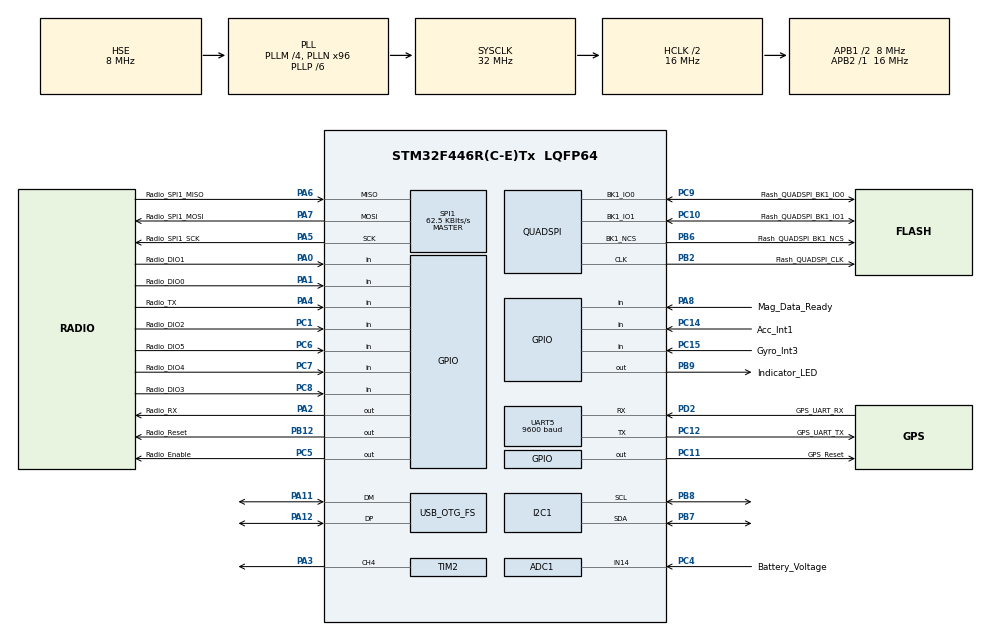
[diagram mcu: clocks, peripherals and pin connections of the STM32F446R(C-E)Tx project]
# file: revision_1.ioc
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ADC1.Channel-0\#ChannelRegularConversion=ADC_CHANNEL_14
ADC1.NbrOfConversionFlag=1
ADC1.Rank-0\#ChannelRegularConversion=1
ADC1.SamplingTime-0\#ChannelRegularConversion=ADC_SAMPLETIME_3CYCLES
ADC1.master=1
Dma.Request0=UART5_RX
Dma.UART5_RX.0.Direction=DMA_PERIPH_TO_MEMORY
Dma.UART5_RX.0.FIFOMode=DMA_FIFOMODE_DISABLE
Dma.UART5_RX.0.Instance=DMA1_Stream0
Dma.UART5_RX.0.MemDataAlignment=DMA_MDATAALIGN_BYTE
Dma.UART5_RX.0.MemInc=DMA_MINC_ENABLE
Dma.UART5_RX.0.Mode=DMA_NORMAL
Dma.UART5_RX.0.PeriphDataAlignment=DMA_PDATAALIGN_BYTE
Dma.UART5_RX.0.PeriphInc=DMA_PINC_DISABLE
Dma.UART5_RX.0.Priority=DMA_PRIORITY_LOW
Mcu.Family=STM32F4
Mcu.Name=STM32F446R(C-E)Tx
Mcu.Package=LQFP64
NVIC.DMA1_Stream0_IRQn=true\:0\:0\:false\:false\:true\:false\:true\:true
NVIC.OTG_FS_IRQn=true\:0\:0\:false\:false\:true\:false\:true\:true
NVIC.PriorityGroup=NVIC_PRIORITYGROUP_4
PA0-WKUP.GPIO_Label=Radio_DIO1
PA0-WKUP.Signal=GPIO_Input
PA1.GPIO_Label=Radio_DIO0
PA1.Signal=GPIO_Input
PA11.Mode=Device_Only
PA11.Signal=USB_OTG_FS_DM
PA12.Mode=Device_Only
PA12.Signal=USB_OTG_FS_DP
PA13.Mode=Serial_Wire
PA13.Signal=SYS_JTMS-SWDIO
PA14.Mode=Serial_Wire
PA14.Signal=SYS_JTCK-SWCLK
PA2.GPIO_Label=Radio_RX
PA2.Signal=GPIO_Output
PA3.Signal=S_TIM2_CH4
PA4.GPIO_Label=Radio_TX
PA4.Signal=GPIO_Input
PA5.GPIO_Label=Radio_SPI1_SCK
PA5.Mode=Full_Duplex_Master
PA5.Signal=SPI1_SCK
PA6.GPIO_Label=Radio_SPI1_MISO
PA6.Mode=Full_Duplex_Master
PA6.Signal=SPI1_MISO
PA7.GPIO_Label=Radio_SPI1_MOSI
PA7.Mode=Full_Duplex_Master
PA7.Signal=SPI1_MOSI
PA8.GPIO_Label=Mag_Data_Ready
PA8.Signal=GPIO_Input
PB12.GPIO_Label=Radio_Reset
PB12.Signal=GPIO_Output
PB2.GPIO_Label=Flash_QUADSPI_CLK
PB2.Mode=Single Bank 1 2IOs
PB2.Signal=QUADSPI_CLK
PB6.GPIO_Label=Flash_QUADSPI_BK1_NCS
PB6.Mode=Single Bank 1 2IOs
PB6.Signal=QUADSPI_BK1_NCS
PB7.Mode=I2C
PB7.Signal=I2C1_SDA
PB8.Mode=I2C
PB8.Signal=I2C1_SCL
PB9.GPIO_Label=Indicator_LED
PB9.Signal=GPIO_Output
PC1.GPIO_Label=Radio_DIO2
PC1.Signal=GPIO_Input
PC10.GPIO_Label=Flash_QUADSPI_BK1_IO1
PC10.Mode=Single Bank 1 2IOs
PC10.Signal=QUADSPI_BK1_IO1
PC11.GPIO_Label=GPS_Reset
PC11.Signal=GPIO_Output
PC12.GPIO_Label=GPS_UART_TX
PC12.Mode=Asynchronous
PC12.Signal=UART5_TX
PC14-OSC32_IN.GPIO_Label=Acc_Int1
PC14-OSC32_IN.Signal=GPIO_Input
PC15-OSC32_OUT.GPIO_Label=Gyro_Int3
PC15-OSC32_OUT.Signal=GPIO_Input
PC4.GPIO_Label=Battery_Voltage
PC4.Signal=ADCx_IN14
PC5.GPIO_Label=Radio_Enable
PC5.GPIO_PuPd=GPIO_NOPULL
PC5.PinState=GPIO_PIN_RESET
PC5.Signal=GPIO_Output
PC6.GPIO_Label=Radio_DIO5
PC6.Signal=GPIO_Input
PC7.GPIO_Label=Radio_DIO4
PC7.Signal=GPIO_Input
PC8.GPIO_Label=Radio_DIO3
PC8.Signal=GPIO_Input
PC9.GPIO_Label=Flash_QUADSPI_BK1_IO0
PC9.Mode=Single Bank 1 2IOs
PC9.Signal=QUADSPI_BK1_IO0
PD2.GPIO_Label=GPS_UART_RX
PD2.Mode=Asynchronous
PD2.Signal=UART5_RX
PH0-OSC_IN.Mode=HSE-External-Oscillator
PH0-OSC_IN.Signal=RCC_OSC_IN
PH1-OSC_OUT.Mode=HSE-External-Oscillator
PH1-OSC_OUT.Signal=RCC_OSC_OUT
ProjectManager.HeapSize=0x200
ProjectManager.StackSize=0x400
ProjectManager.TargetToolchain=STM32CubeIDE
QUADSPI.FifoThreshold=1
QUADSPI.FlashSize=24
RCC.AHBCLKDivider=RCC_SYSCLK_DIV2
RCC.AHBFreq_Value=16000000
RCC.APB1CLKDivider=RCC_HCLK_DIV2
RCC.APB1Freq_Value=8000000
RCC.APB1TimFreq_Value=16000000
RCC.APB2Freq_Value=16000000
RCC.APB2TimFreq_Value=16000000
RCC.CortexFreq_Value=16000000
RCC.HCLKFreq_Value=16000000
RCC.HSE_VALUE=8000000
RCC.PLLM=4
RCC.PLLN=96
RCC.PLLP=RCC_PLLP_DIV6
RCC.PLLQ=4
RCC.PLLSourceVirtual=RCC_PLLSOURCE_HSE
RCC.SYSCLKFreq_VALUE=32000000
RCC.SYSCLKSource=RCC_SYSCLKSOURCE_PLLCLK
RCC.USBFreq_Value=48000000
RCC.VCOOutputFreq_Value=192000000
SH.ADCx_IN14.0=ADC1_IN14,IN14
SH.S_TIM2_CH4.0=TIM2_CH4,PWM Generation4 CH4
SPI1.BaudRatePrescaler=SPI_BAUDRATEPRESCALER_256
SPI1.CalculateBaudRate=62.5 KBits/s
SPI1.Direction=SPI_DIRECTION_2LINES
SPI1.Mode=SPI_MODE_MASTER
SPI1.VirtualType=VM_MASTER
TIM2.AutoReloadPreload=TIM_AUTORELOAD_PRELOAD_ENABLE
TIM2.Channel-PWM\ Generation4\ CH4=TIM_CHANNEL_4
TIM2.ClockDivision=TIM_CLOCKDIVISION_DIV1
TIM2.Period=10
TIM2.Prescaler=600
TIM2.Pulse-PWM\ Generation4\ CH4=5
TIM2.TIM_MasterOutputTrigger=TIM_TRGO_RESET
TIM2.TIM_MasterSlaveMode=TIM_MASTERSLAVEMODE_DISABLE
UART5.BaudRate=9600
UART5.VirtualMode=Asynchronous
USB_DEVICE.CLASS_NAME_FS=CDC
USB_DEVICE.VirtualMode-CDC_FS=Cdc
USB_DEVICE.VirtualModeFS=Cdc_FS
USB_OTG_FS.VirtualMode=Device_Only
VP_TIM1_VS_ClockSourceINT.Mode=Internal
VP_TIM2_VS_ClockSourceINT.Mode=Internal
VP_USB_DEVICE_VS_USB_DEVICE_CDC_FS.Mode=CDC_FS
board=custom

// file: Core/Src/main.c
/* USER CODE BEGIN Header */
/**
  ******************************************************************************
  * @file           : main.c
  * @brief          : Main program body
  ******************************************************************************
  * @attention
  *
  * Copyright (c) 2023 STMicroelectronics.
  * All rights reserved.
  *
  * This software is licensed under terms that can be found in the LICENSE file
  * in the root directory of this software component.
  * If no LICENSE file comes with this software, it is provided AS-IS.
  *
  ******************************************************************************
  */
/* USER CODE END Header */
#include "main.h"
#include "usb_device.h"

/* USER CODE BEGIN Includes */
#include "stdio.h"
#include "stdlib.h"
#include "usbd_cdc_if.h"
#include "sx1272.h"
#include "L80M39.h"
#include "bme280.h"
#include "BMI088.h"
/* USER CODE END Includes */

/* USER CODE BEGIN PD */
#define BUFFER_LENGTH 600
/* USER CODE END PD */

ADC_HandleTypeDef hadc1;

I2C_HandleTypeDef hi2c1;

QSPI_HandleTypeDef hqspi;

SPI_HandleTypeDef hspi1;

TIM_HandleTypeDef htim1;
TIM_HandleTypeDef htim2;

UART_HandleTypeDef huart5;
DMA_HandleTypeDef hdma_uart5_rx;

/* USER CODE BEGIN PV */
L80M39_t gps;
uint8_t UART1_rxBuffer[BUFFER_LENGTH] = {0};
sx1272_t sx;
sx_gpio_t sx_cs_gpio, sx_tx_gpio, sx_rx_gpio;
uint8_t buf[256] = "Hello, world!";
float temperature;
float humidity;
float pressure;

struct bme280_dev dev_bme280;
struct bme280_data comp_data_bme280;
int8_t rslt_bme280;

char hum_string[50];
char temp_string[50];
char press_string[50];
/* USER CODE END PV */

void SystemClock_Config(void);
static void MX_GPIO_Init(void);
static void MX_DMA_Init(void);
static void MX_QUADSPI_Init(void);
static void MX_I2C1_Init(void);
static void MX_SPI1_Init(void);
static void MX_ADC1_Init(void);
static void MX_UART5_Init(void);
static void MX_TIM1_Init(void);
static void MX_TIM2_Init(void);
/* USER CODE BEGIN PFP */
void HAL_UART_RxCpltCallback(UART_HandleTypeDef *huart)
{
	L80M39_parse(&gps, UART1_rxBuffer, BUFFER_LENGTH);
	char test_message[50];
	//sprintf(test_message, "dat: %.2f lat: %.8f lon: %.8f", gps.datetime, gps.latitude, gps.longitude);
	//CDC_Transmit_FS((uint8_t*) test_message, strlen(test_message));
	HAL_UART_Receive_DMA(&huart5, &UART1_rxBuffer[0], BUFFER_LENGTH);
}
//void HAL_TIM_PeriodElapsedCallback(TIM_HandleTypeDef *htim)
//{
//    if (htim == &htim6)
//    {
//    	HAL_TIM_PWM_Start(&htim2, TIM_CHANNEL_4);
//    }
//}
/* USER CODE END PFP */

/* USER CODE BEGIN 0 */
int8_t user_i2c_read(uint8_t id, uint8_t reg_addr, uint8_t *data, uint16_t len)
{
  if(HAL_I2C_Master_Transmit(&hi2c1, (id << 1), &reg_addr, 1, 10) != HAL_OK) return -1;
  if(HAL_I2C_Master_Receive(&hi2c1, (id << 1) | 0x01, data, len, 10) != HAL_OK) return -1;

  return 0;
}

void user_delay_ms(uint32_t period)
{
  HAL_Delay(period);
}

int8_t user_i2c_write(uint8_t id, uint8_t reg_addr, uint8_t *data, uint16_t len)
{
  int8_t *buf;
  buf = malloc(len +1);
  buf[0] = reg_addr;
  memcpy(buf +1, data, len);

  if(HAL_I2C_Master_Transmit(&hi2c1, (id << 1), (uint8_t*)buf, len + 1, HAL_MAX_DELAY) != HAL_OK) return -1;

  free(buf);
  return 0;
}

/* USER CODE END 0 */

int main(void)
{

  /* MCU Configuration--------------------------------------------------------*/

  /* Reset of all peripherals, Initializes the Flash interface and the Systick. */
  HAL_Init();

  /* Configure the system clock */
  SystemClock_Config();

  /* Initialize all configured peripherals */
  MX_GPIO_Init();
  MX_DMA_Init();
  MX_QUADSPI_Init();
  MX_I2C1_Init();
  MX_SPI1_Init();
  MX_ADC1_Init();
  MX_UART5_Init();
  MX_USB_DEVICE_Init();
  MX_TIM1_Init();
  MX_TIM2_Init();
  /* USER CODE BEGIN 2 */

  /* BME280 init */
    dev_bme280.dev_id = BME280_I2C_ADDR_PRIM;
    dev_bme280.intf = BME280_I2C_INTF;
    dev_bme280.read = user_i2c_read;
    dev_bme280.write = user_i2c_write;
    dev_bme280.delay_ms = user_delay_ms;

    rslt_bme280 = bme280_init(&dev_bme280);

    /* BME280 settings */
    dev_bme280.settings.osr_h = BME280_OVERSAMPLING_1X;
    dev_bme280.settings.osr_p = BME280_OVERSAMPLING_16X;
    dev_bme280.settings.osr_t = BME280_OVERSAMPLING_2X;
    dev_bme280.settings.filter = BME280_FILTER_COEFF_16;
    rslt_bme280 = bme280_set_sensor_settings(BME280_OSR_PRESS_SEL | BME280_OSR_TEMP_SEL | BME280_OSR_HUM_SEL | BME280_FILTER_SEL, &dev_bme280);

    /* Radio INIT */
	//HAL_GPIO_WritePin(Radio_Enable_GPIO_Port, Radio_Enable_Pin, SET);

	sx_cs_gpio = (sx_gpio_t) {
		.port = Radio_Enable_GPIO_Port,
		.pin = Radio_Enable_Pin,
	};

	sx_tx_gpio = (sx_gpio_t) {
		.port = Radio_TX_GPIO_Port,
		.pin = Radio_TX_Pin,
	};

	sx_rx_gpio = (sx_gpio_t) {
		.port = Radio_RX_GPIO_Port,
		.pin = Radio_RX_Pin,
	};

	// Init device structure

	sx = (sx1272_t) {
			.spi = &hspi1,
			.cs_gpio = &sx_cs_gpio,
			.tx_gpio = &sx_tx_gpio,
			.rx_gpio = &sx_rx_gpio,
			.packet_length = 16,
	};

	/*printf("tx (1), rx (2), tx_no_crc (3), echo_src (4), echo_wall (5) ? ");
	fflush(stdout);*/
	int status = sx1272_common_init(&sx, false);

	/* GPS Init */
	HAL_GPIO_WritePin(GPS_Reset_GPIO_Port, GPS_Reset_Pin, 1);
	L80M39_init(&gps);
	HAL_UART_Receive_DMA(&huart5, &UART1_rxBuffer[0], BUFFER_LENGTH);

	/* BMI088 Init */
    if (BMI088Check()) {
    	BMI088SetAccRange(RANGE_3G);
        BMI088Init();
    } else {
        // Error handling
    }

  /* USER CODE END 2 */

  /* Infinite loop */
  /* USER CODE BEGIN WHILE */

  // counter is used for delaying the start of buzzer
  unsigned int counter = 0;

  // buffer for sending messages via USB conn
  char test_message[50];

  while (1)
  {
    /* USER CODE END WHILE */

    /* USER CODE BEGIN 3 */

	  /* BME280 data acquisition */
	  rslt_bme280 = bme280_set_sensor_mode(BME280_FORCED_MODE, &dev_bme280);
	  dev_bme280.delay_ms(40);
	  rslt_bme280 = bme280_get_sensor_data(BME280_ALL, &comp_data_bme280, &dev_bme280);
	  if(rslt_bme280 == BME280_OK)
	  {
		temperature = comp_data_bme280.temperature / 100.0;
		humidity = comp_data_bme280.humidity / 1024.0;
		pressure = comp_data_bme280.pressure / 10000.0;
	  } else {
		  // Replace with proper error handling
//		  if (HAL_UART_Transmit(&huart2, "Error ", 6, 100)) {
//			  Error_Handler();
//			  HAL_Delay(500);
//		  }
	  }

      /* BMI088 data acquisition */
      float ax = 0, ay = 0, az = 0;
      float gx = 0, gy = 0, gz = 0;
      int16_t temp = 0;

      BMI088GetAccel(&ax, &ay, &az);
      BMI088GetGyro(&gx, &gy, &gz);
      temp = BMI088GetTemp();

      // Conversion of data variable pointers into unsigned int for transmission
	  unsigned int latitudeInt = *(unsigned int*)&gps.latitude;
	  unsigned int longitudeInt = *(unsigned int*)&gps.longitude;
	  unsigned int dateInt = *(unsigned int*)&gps.datetime;
	  unsigned int tempInt = *(unsigned int*)&temperature;
	  unsigned int humidityInt = *(unsigned int*)&humidity;
	  unsigned int pressureInt = *(unsigned int*)&pressure;
	  unsigned int axInt = *(unsigned int*)&ax;
	  unsigned int ayInt = *(unsigned int*)&ay;
	  unsigned int azInt = *(unsigned int*)&az;
	  unsigned int gxInt = *(unsigned int*)&gx;
	  unsigned int gyInt = *(unsigned int*)&gy;
	  unsigned int gzInt = *(unsigned int*)&gz;

	  // data has to be split into 2 batches for transmission
	  // because buffer sent to SX1272 cannot  be more than 16 elements long

	  buf[0] = 0x10;
	  buf[1] = 0x00;
	  buf[2] = 0x00;
	  buf[3] = 0x00;
	  buf[4] = latitudeInt & 0xff;
	  buf[5] = (latitudeInt >> 8) & 0xff;
	  buf[6] = (latitudeInt >> 16) & 0xff;
	  buf[7] = (latitudeInt >> 24) & 0xff;
	  buf[8] = longitudeInt & 0xff;
	  buf[9] = (longitudeInt >> 8) & 0xff;
	  buf[10] = (longitudeInt >> 16) & 0xff;
	  buf[11] = (longitudeInt >> 24) & 0xff;
	  buf[12] = dateInt & 0xff;
	  buf[13] = (dateInt >> 8) & 0xff;
	  buf[14] = (dateInt >> 16) & 0xff;
	  buf[15] = (dateInt >> 24) & 0xff;
	  int ret = sx1272_transmit(&sx, buf);

	HAL_Delay(50);

	  buf[0] = 0x20;
	  buf[1] = 0x00;
	  buf[2] = 0x00;
	  buf[3] = 0x00;
	  buf[4] = tempInt & 0xff;
	  buf[5] = (tempInt >> 8) & 0xff;
	  buf[6] = (tempInt >> 16) & 0xff;
	  buf[7] = (tempInt >> 24) & 0xff;
	  buf[8] = humidityInt & 0xff;
	  buf[9] = (humidityInt >> 8) & 0xff;
	  buf[10] = (humidityInt >> 16) & 0xff;
	  buf[11] = (humidityInt >> 24) & 0xff;
	  buf[12] = pressureInt & 0xff;
	  buf[13] = (pressureInt >> 8) & 0xff;
	  buf[14] = (pressureInt >> 16) & 0xff;
	  buf[15] = (pressureInt >> 24) & 0xff;
	  ret = sx1272_transmit(&sx, buf);

	HAL_Delay(50);

	  buf[0] = 0x30;
	  buf[1] = 0x00;
	  buf[2] = 0x00;
	  buf[3] = 0x00;
	  buf[4] = axInt & 0xff;
	  buf[5] = (axInt >> 8) & 0xff;
	  buf[6] = (axInt >> 16) & 0xff;
	  buf[7] = (axInt >> 24) & 0xff;
	  buf[8] = ayInt & 0xff;
	  buf[9] = (ayInt >> 8) & 0xff;
	  buf[10] = (ayInt >> 16) & 0xff;
	  buf[11] = (ayInt >> 24) & 0xff;
	  buf[12] = azInt & 0xff;
	  buf[13] = (azInt >> 8) & 0xff;
	  buf[14] = (azInt >> 16) & 0xff;
	  buf[15] = (azInt >> 24) & 0xff;
	  ret = sx1272_transmit(&sx, buf);

	HAL_Delay(50);

	  buf[0] = 0x40;
	  buf[1] = 0x00;
	  buf[2] = 0x00;
	  buf[3] = 0x00;
	  buf[4] = gxInt & 0xff;
	  buf[5] = (gxInt >> 8) & 0xff;
	  buf[6] = (gxInt >> 16) & 0xff;
	  buf[7] = (gxInt >> 24) & 0xff;
	  buf[8] = gyInt & 0xff;
	  buf[9] = (gyInt >> 8) & 0xff;
	  buf[10] = (gyInt >> 16) & 0xff;
	  buf[11] = (gyInt >> 24) & 0xff;
	  buf[12] = gzInt & 0xff;
	  buf[13] = (gzInt >> 8) & 0xff;
	  buf[14] = (gzInt >> 16) & 0xff;
	  buf[15] = (gzInt >> 24) & 0xff;
	  ret = sx1272_transmit(&sx, buf);

	  //Printing to USB for debugging
//	sprintf(test_message, "Tx status: %d\r\n", ret);
//	CDC_Transmit_FS((uint8_t*) test_message, strlen(test_message));
//	sprintf(test_message, "Datetime: %x\n\r", dateInt);
//	CDC_Transmit_FS((uint8_t*) test_message, strlen(test_message));
//	sprintf(test_message, "temperature: %4.2f, humidity: %4.2f, pressure: %4.2f\r\n", temperature, humidity, pressure);
//	CDC_Transmit_FS((uint8_t*) test_message, strlen(test_message));
//	sprintf(test_message, "temperature: %x, humidity: %x, pressure: %x\r\n", tempInt, humidityInt, pressureInt);
//	CDC_Transmit_FS((uint8_t*) test_message, strlen(test_message));
//	sprintf(test_message, "Latitude: %x\n\r", latitudeInt);
//	CDC_Transmit_FS((uint8_t*) test_message, strlen(test_message));
//	sprintf(test_message, "Longitude: %x\n\r", longitudeInt);
	sprintf(test_message, "ax: %4.2f, ay: %4.2f, az: %4.2f\r\n", ax, ay, az);
	CDC_Transmit_FS((uint8_t*) test_message, strlen(test_message));
	sprintf(test_message, "gx: %4.2f, gy: %4.2f, gz: %4.2f\r\n", gx, gy, gz);
	CDC_Transmit_FS((uint8_t*) test_message, strlen(test_message));

	HAL_Delay(50);
	counter++;
	// Buzzer will start in 18min = 4500 counts * 240ms / 60 (total HAL delay; it is not very precise)
	if(counter == 4500) {
		HAL_TIM_PWM_Start(&htim2, TIM_CHANNEL_4);
	}
  }
  /* USER CODE END 3 */
}

void SystemClock_Config(void)
{
  RCC_OscInitTypeDef RCC_OscInitStruct = {0};
  RCC_ClkInitTypeDef RCC_ClkInitStruct = {0};

  /** Configure the main internal regulator output voltage
  */
  __HAL_RCC_PWR_CLK_ENABLE();
  __HAL_PWR_VOLTAGESCALING_CONFIG(PWR_REGULATOR_VOLTAGE_SCALE3);

  /** Initializes the RCC Oscillators according to the specified parameters
  * in the RCC_OscInitTypeDef structure.
  */
  RCC_OscInitStruct.OscillatorType = RCC_OSCILLATORTYPE_HSE;
  RCC_OscInitStruct.HSEState = RCC_HSE_ON;
  RCC_OscInitStruct.PLL.PLLState = RCC_PLL_ON;
  RCC_OscInitStruct.PLL.PLLSource = RCC_PLLSOURCE_HSE;
  RCC_OscInitStruct.PLL.PLLM = 4;
  RCC_OscInitStruct.PLL.PLLN = 96;
  RCC_OscInitStruct.PLL.PLLP = RCC_PLLP_DIV6;
  RCC_OscInitStruct.PLL.PLLQ = 4;
  RCC_OscInitStruct.PLL.PLLR = 2;
  if (HAL_RCC_OscConfig(&RCC_OscInitStruct) != HAL_OK)
  {
    Error_Handler();
  }

  /** Initializes the CPU, AHB and APB buses clocks
  */
  RCC_ClkInitStruct.ClockType = RCC_CLOCKTYPE_HCLK|RCC_CLOCKTYPE_SYSCLK
                              |RCC_CLOCKTYPE_PCLK1|RCC_CLOCKTYPE_PCLK2;
  RCC_ClkInitStruct.SYSCLKSource = RCC_SYSCLKSOURCE_PLLCLK;
  RCC_ClkInitStruct.AHBCLKDivider = RCC_SYSCLK_DIV2;
  RCC_ClkInitStruct.APB1CLKDivider = RCC_HCLK_DIV2;
  RCC_ClkInitStruct.APB2CLKDivider = RCC_HCLK_DIV1;

  if (HAL_RCC_ClockConfig(&RCC_ClkInitStruct, FLASH_LATENCY_0) != HAL_OK)
  {
    Error_Handler();
  }
}

static void MX_ADC1_Init(void)
{

  ADC_ChannelConfTypeDef sConfig = {0};

  /** Configure the global features of the ADC (Clock, Resolution, Data Alignment and number of conversion)
  */
  hadc1.Instance = ADC1;
  hadc1.Init.ClockPrescaler = ADC_CLOCK_SYNC_PCLK_DIV2;
  hadc1.Init.Resolution = ADC_RESOLUTION_12B;
  hadc1.Init.ScanConvMode = DISABLE;
  hadc1.Init.ContinuousConvMode = DISABLE;
  hadc1.Init.DiscontinuousConvMode = DISABLE;
  hadc1.Init.ExternalTrigConvEdge = ADC_EXTERNALTRIGCONVEDGE_NONE;
  hadc1.Init.ExternalTrigConv = ADC_SOFTWARE_START;
  hadc1.Init.DataAlign = ADC_DATAALIGN_RIGHT;
  hadc1.Init.NbrOfConversion = 1;
  hadc1.Init.DMAContinuousRequests = DISABLE;
  hadc1.Init.EOCSelection = ADC_EOC_SINGLE_CONV;
  if (HAL_ADC_Init(&hadc1) != HAL_OK)
  {
    Error_Handler();
  }

  /** Configure for the selected ADC regular channel its corresponding rank in the sequencer and its sample time.
  */
  sConfig.Channel = ADC_CHANNEL_14;
  sConfig.Rank = 1;
  sConfig.SamplingTime = ADC_SAMPLETIME_3CYCLES;
  if (HAL_ADC_ConfigChannel(&hadc1, &sConfig) != HAL_OK)
  {
    Error_Handler();
  }

}

static void MX_I2C1_Init(void)
{

  hi2c1.Instance = I2C1;
  hi2c1.Init.ClockSpeed = 100000;
  hi2c1.Init.DutyCycle = I2C_DUTYCYCLE_2;
  hi2c1.Init.OwnAddress1 = 0;
  hi2c1.Init.AddressingMode = I2C_ADDRESSINGMODE_7BIT;
  hi2c1.Init.DualAddressMode = I2C_DUALADDRESS_DISABLE;
  hi2c1.Init.OwnAddress2 = 0;
  hi2c1.Init.GeneralCallMode = I2C_GENERALCALL_DISABLE;
  hi2c1.Init.NoStretchMode = I2C_NOSTRETCH_DISABLE;
  if (HAL_I2C_Init(&hi2c1) != HAL_OK)
  {
    Error_Handler();
  }

}

static void MX_QUADSPI_Init(void)
{

  /* QUADSPI parameter configuration*/
  hqspi.Instance = QUADSPI;
  hqspi.Init.ClockPrescaler = 255;
  hqspi.Init.FifoThreshold = 1;
  hqspi.Init.SampleShifting = QSPI_SAMPLE_SHIFTING_NONE;
  hqspi.Init.FlashSize = 24;
  hqspi.Init.ChipSelectHighTime = QSPI_CS_HIGH_TIME_1_CYCLE;
  hqspi.Init.ClockMode = QSPI_CLOCK_MODE_0;
  hqspi.Init.FlashID = QSPI_FLASH_ID_1;
  hqspi.Init.DualFlash = QSPI_DUALFLASH_DISABLE;
  if (HAL_QSPI_Init(&hqspi) != HAL_OK)
  {
    Error_Handler();
  }

}

static void MX_SPI1_Init(void)
{

  /* SPI1 parameter configuration*/
  hspi1.Instance = SPI1;
  hspi1.Init.Mode = SPI_MODE_MASTER;
  hspi1.Init.Direction = SPI_DIRECTION_2LINES;
  hspi1.Init.DataSize = SPI_DATASIZE_8BIT;
  hspi1.Init.CLKPolarity = SPI_POLARITY_LOW;
  hspi1.Init.CLKPhase = SPI_PHASE_1EDGE;
  hspi1.Init.NSS = SPI_NSS_SOFT;
  hspi1.Init.BaudRatePrescaler = SPI_BAUDRATEPRESCALER_256;
  hspi1.Init.FirstBit = SPI_FIRSTBIT_MSB;
  hspi1.Init.TIMode = SPI_TIMODE_DISABLE;
  hspi1.Init.CRCCalculation = SPI_CRCCALCULATION_DISABLE;
  hspi1.Init.CRCPolynomial = 10;
  if (HAL_SPI_Init(&hspi1) != HAL_OK)
  {
    Error_Handler();
  }

}

static void MX_TIM1_Init(void)
{

  TIM_ClockConfigTypeDef sClockSourceConfig = {0};
  TIM_MasterConfigTypeDef sMasterConfig = {0};

  htim1.Instance = TIM1;
  htim1.Init.Prescaler = 0;
  htim1.Init.CounterMode = TIM_COUNTERMODE_UP;
  htim1.Init.Period = 65535;
  htim1.Init.ClockDivision = TIM_CLOCKDIVISION_DIV1;
  htim1.Init.RepetitionCounter = 0;
  htim1.Init.AutoReloadPreload = TIM_AUTORELOAD_PRELOAD_DISABLE;
  if (HAL_TIM_Base_Init(&htim1) != HAL_OK)
  {
    Error_Handler();
  }
  sClockSourceConfig.ClockSource = TIM_CLOCKSOURCE_INTERNAL;
  if (HAL_TIM_ConfigClockSource(&htim1, &sClockSourceConfig) != HAL_OK)
  {
    Error_Handler();
  }
  sMasterConfig.MasterOutputTrigger = TIM_TRGO_RESET;
  sMasterConfig.MasterSlaveMode = TIM_MASTERSLAVEMODE_DISABLE;
  if (HAL_TIMEx_MasterConfigSynchronization(&htim1, &sMasterConfig) != HAL_OK)
  {
    Error_Handler();
  }

}

static void MX_TIM2_Init(void)
{

  TIM_ClockConfigTypeDef sClockSourceConfig = {0};
  TIM_MasterConfigTypeDef sMasterConfig = {0};
  TIM_OC_InitTypeDef sConfigOC = {0};

  htim2.Instance = TIM2;
  htim2.Init.Prescaler = 600;
  htim2.Init.CounterMode = TIM_COUNTERMODE_UP;
  htim2.Init.Period = 10;
  htim2.Init.ClockDivision = TIM_CLOCKDIVISION_DIV1;
  htim2.Init.AutoReloadPreload = TIM_AUTORELOAD_PRELOAD_ENABLE;
  if (HAL_TIM_Base_Init(&htim2) != HAL_OK)
  {
    Error_Handler();
  }
  sClockSourceConfig.ClockSource = TIM_CLOCKSOURCE_INTERNAL;
  if (HAL_TIM_ConfigClockSource(&htim2, &sClockSourceConfig) != HAL_OK)
  {
    Error_Handler();
  }
  if (HAL_TIM_PWM_Init(&htim2) != HAL_OK)
  {
    Error_Handler();
  }
  sMasterConfig.MasterOutputTrigger = TIM_TRGO_RESET;
  sMasterConfig.MasterSlaveMode = TIM_MASTERSLAVEMODE_DISABLE;
  if (HAL_TIMEx_MasterConfigSynchronization(&htim2, &sMasterConfig) != HAL_OK)
  {
    Error_Handler();
  }
  sConfigOC.OCMode = TIM_OCMODE_PWM1;
  sConfigOC.Pulse = 5;
  sConfigOC.OCPolarity = TIM_OCPOLARITY_HIGH;
  sConfigOC.OCFastMode = TIM_OCFAST_DISABLE;
  if (HAL_TIM_PWM_ConfigChannel(&htim2, &sConfigOC, TIM_CHANNEL_4) != HAL_OK)
  {
    Error_Handler();
  }
  HAL_TIM_MspPostInit(&htim2);

}

static void MX_UART5_Init(void)
{

  huart5.Instance = UART5;
  huart5.Init.BaudRate = 9600;
  huart5.Init.WordLength = UART_WORDLENGTH_8B;
  huart5.Init.StopBits = UART_STOPBITS_1;
  huart5.Init.Parity = UART_PARITY_NONE;
  huart5.Init.Mode = UART_MODE_TX_RX;
  huart5.Init.HwFlowCtl = UART_HWCONTROL_NONE;
  huart5.Init.OverSampling = UART_OVERSAMPLING_16;
  if (HAL_UART_Init(&huart5) != HAL_OK)
  {
    Error_Handler();
  }

}

static void MX_DMA_Init(void)
{

  /* DMA controller clock enable */
  __HAL_RCC_DMA1_CLK_ENABLE();

  /* DMA interrupt init */
  /* DMA1_Stream0_IRQn interrupt configuration */
  HAL_NVIC_SetPriority(DMA1_Stream0_IRQn, 0, 0);
  HAL_NVIC_EnableIRQ(DMA1_Stream0_IRQn);

}

static void MX_GPIO_Init(void)
{
  GPIO_InitTypeDef GPIO_InitStruct = {0};

  /* GPIO Ports Clock Enable */
  __HAL_RCC_GPIOC_CLK_ENABLE();
  __HAL_RCC_GPIOH_CLK_ENABLE();
  __HAL_RCC_GPIOA_CLK_ENABLE();
  __HAL_RCC_GPIOB_CLK_ENABLE();
  __HAL_RCC_GPIOD_CLK_ENABLE();

  /*Configure GPIO pin Output Level */
  HAL_GPIO_WritePin(Radio_RX_GPIO_Port, Radio_RX_Pin, GPIO_PIN_RESET);

  /*Configure GPIO pin Output Level */
  HAL_GPIO_WritePin(GPIOC, Radio_Enable_Pin|GPS_Reset_Pin, GPIO_PIN_RESET);

  /*Configure GPIO pin Output Level */
  HAL_GPIO_WritePin(GPIOB, Radio_Reset_Pin|Indicator_LED_Pin, GPIO_PIN_RESET);

  /*Configure GPIO pins : Acc_Int1_Pin Gyro_Int3_Pin Radio_DIO2_Pin Radio_DIO5_Pin
                           Radio_DIO4_Pin Radio_DIO3_Pin */
  GPIO_InitStruct.Pin = Acc_Int1_Pin|Gyro_Int3_Pin|Radio_DIO2_Pin|Radio_DIO5_Pin
                          |Radio_DIO4_Pin|Radio_DIO3_Pin;
  GPIO_InitStruct.Mode = GPIO_MODE_INPUT;
  GPIO_InitStruct.Pull = GPIO_NOPULL;
  HAL_GPIO_Init(GPIOC, &GPIO_InitStruct);

  /*Configure GPIO pins : Radio_DIO1_Pin Radio_DIO0_Pin Radio_TX_Pin Mag_Data_Ready_Pin */
  GPIO_InitStruct.Pin = Radio_DIO1_Pin|Radio_DIO0_Pin|Radio_TX_Pin|Mag_Data_Ready_Pin;
  GPIO_InitStruct.Mode = GPIO_MODE_INPUT;
  GPIO_InitStruct.Pull = GPIO_NOPULL;
  HAL_GPIO_Init(GPIOA, &GPIO_InitStruct);

  /*Configure GPIO pin : Radio_RX_Pin */
  GPIO_InitStruct.Pin = Radio_RX_Pin;
  GPIO_InitStruct.Mode = GPIO_MODE_OUTPUT_PP;
  GPIO_InitStruct.Pull = GPIO_NOPULL;
  GPIO_InitStruct.Speed = GPIO_SPEED_FREQ_LOW;
  HAL_GPIO_Init(Radio_RX_GPIO_Port, &GPIO_InitStruct);

  /*Configure GPIO pins : Radio_Enable_Pin GPS_Reset_Pin */
  GPIO_InitStruct.Pin = Radio_Enable_Pin|GPS_Reset_Pin;
  GPIO_InitStruct.Mode = GPIO_MODE_OUTPUT_PP;
  GPIO_InitStruct.Pull = GPIO_NOPULL;
  GPIO_InitStruct.Speed = GPIO_SPEED_FREQ_LOW;
  HAL_GPIO_Init(GPIOC, &GPIO_InitStruct);

  /*Configure GPIO pins : Radio_Reset_Pin Indicator_LED_Pin */
  GPIO_InitStruct.Pin = Radio_Reset_Pin|Indicator_LED_Pin;
  GPIO_InitStruct.Mode = GPIO_MODE_OUTPUT_PP;
  GPIO_InitStruct.Pull = GPIO_NOPULL;
  GPIO_InitStruct.Speed = GPIO_SPEED_FREQ_LOW;
  HAL_GPIO_Init(GPIOB, &GPIO_InitStruct);

}

void Error_Handler(void)
{
  __disable_irq();
  while (1)
  {
  }
}
